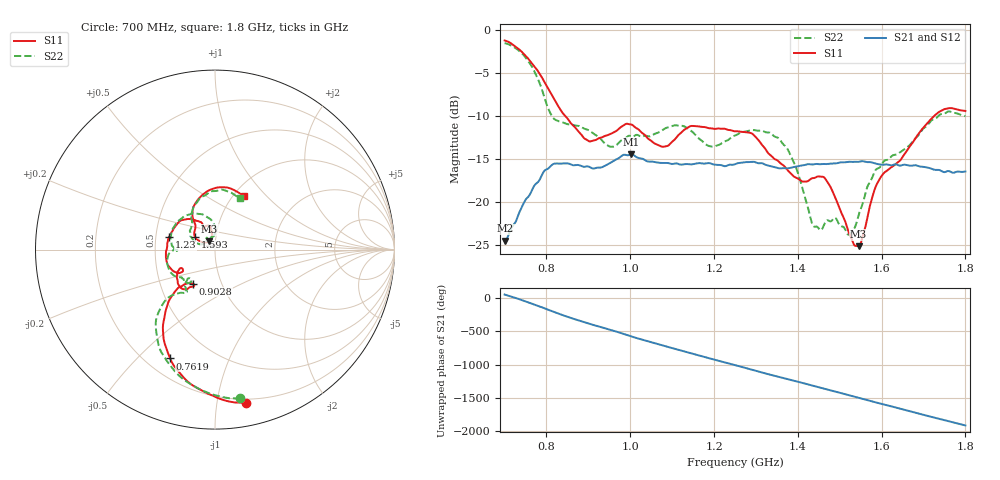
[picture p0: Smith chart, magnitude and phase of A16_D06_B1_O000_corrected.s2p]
! Created with skrf 1.9.0 (http://scikit-rf.org).
# Hz S RI R 50.0
!freq ReS11 ImS11 ReS21 ImS21 ReS12 ImS12 ReS22 ImS22
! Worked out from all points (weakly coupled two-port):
!   1601 points, 700 MHz to 1.8 GHz, reference 50 ohm
!   highest |S21| = -14.46 dB at 1.002 GHz (marker M1); lowest = -24.5 dB at 701.4 MHz (marker M2)
!   lowest |S11| = -25.1 dB at 1.545 GHz (marker M3), VSWR 1.12, Z = 46.8 + j4.29 ohm
!   |S11| at or under -10 dB: 845.1 MHz to 1.725 GHz (880 MHz wide, 68.5 % of centre)
!   |S22| runs from -23.8 to -1.5 dB; largest |S21 - S12| = 0.0034
!   S11 on the Smith chart (normalised r, x): 700 MHz: 0.17, -1.21; 761.9 MHz: 0.30, -0.63; 902.8 MHz: 0.73, -0.29; 1.23 GHz: 0.59, +0.09; 1.593 GHz: 0.79, +0.12; 1.8 GHz: 1.12, +0.75
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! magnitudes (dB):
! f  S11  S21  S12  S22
! 700 MHz  -1.2  -24.5  -24.3  -1.5
! 701.4 MHz  -1.2  -24.5  -24.1  -1.5
! 761.9 MHz  -3.7  -19.0  -18.9  -4.0
! 816.2 MHz  -7.8  -15.6  -15.7  -10.2
! 883.6 MHz  -12.2  -15.8  -15.7  -11.3
! 902.8 MHz  -12.9  -15.9  -15.9  -11.7
! 953.7 MHz  -12.0  -15.4  -15.4  -13.6
! 1.002 GHz  -11.0  -14.5  -14.6  -12.4
! 1.067 GHz  -13.4  -15.4  -15.4  -11.9
! 1.145 GHz  -11.1  -15.6  -15.6  -11.7
! 1.23 GHz  -11.5  -15.8  -15.7  -12.9
! 1.25 GHz  -11.8  -15.6  -15.5  -12.3
! 1.357 GHz  -15.4  -16.1  -16.0  -12.7
! 1.395 GHz  -17.1  -15.9  -15.9  -15.9
! 1.434 GHz  -17.2  -15.6  -15.6  -22.4
! 1.469 GHz  -17.5  -15.6  -15.5  -22.1
! 1.522 GHz  -23.6  -15.3  -15.3  -23.8
! 1.545 GHz  -25.1  -15.3  -15.3  -21.5
! 1.593 GHz  -17.5  -15.6  -15.6  -16.0
! 1.617 GHz  -16.2  -15.7  -15.6  -15.0
! 1.734 GHz  -9.6  -16.2  -16.3  -10.1
! 1.8 GHz  -9.4  -16.4  -16.4  -10.0
